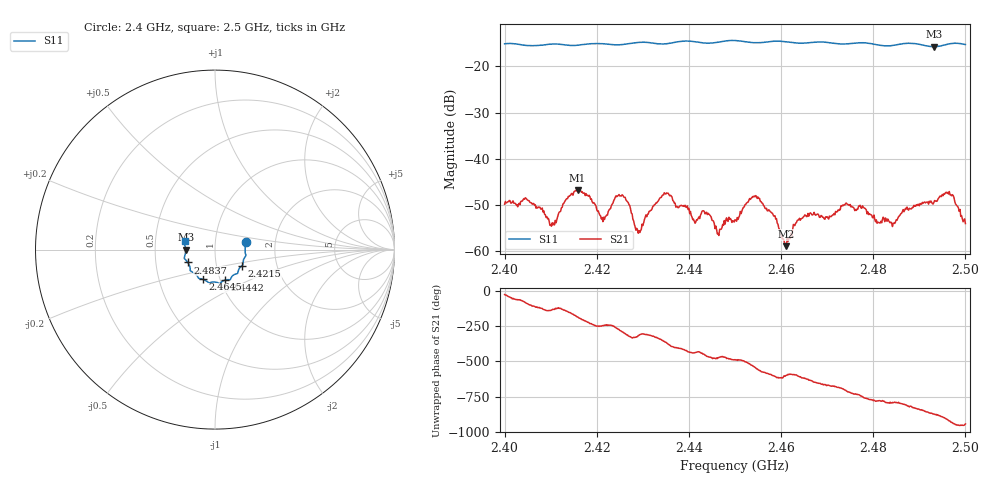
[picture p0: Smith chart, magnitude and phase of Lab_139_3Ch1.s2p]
# Hz S RI R 50
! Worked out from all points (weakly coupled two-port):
!   601 points, 2.4 GHz to 2.5 GHz, reference 50 ohm
!   highest |S21| = -46.84 dB at 2.4158 GHz (marker M1); lowest = -59.0 dB at 2.461 GHz (marker M2)
!   lowest |S11| = -15.7 dB at 2.4932 GHz (marker M3), VSWR 1.39, Z = 35.9 - j0.0512 ohm
!   |S11| at or under -10 dB: start of sweep to end of sweep
!   S12 and S22 are empty: the file has one direction only
!   S11 on the Smith chart (normalised r, x): 2.4 GHz: 1.41, +0.12; 2.4215 GHz: 1.33, -0.25; 2.4442 GHz: 1.05, -0.37; 2.4645 GHz: 0.83, -0.29; 2.4837 GHz: 0.73, -0.11; 2.5 GHz: 0.71, +0.07
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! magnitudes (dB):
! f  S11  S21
! 2.4 GHz  -15.1  -49.9
! 2.4048 GHz  -15.5  -48.8
! 2.4103 GHz  -15.1  -53.9
! 2.4158 GHz  -15.4  -46.8
! 2.4167 GHz  -15.3  -47.3
! 2.4215 GHz  -15.1  -52.7
! 2.4253 GHz  -15.3  -48.1
! 2.4292 GHz  -14.8  -55.6
! 2.4333 GHz  -15.1  -49.2
! 2.4442 GHz  -15.0  -51.9
! 2.4465 GHz  -14.7  -56.7
! 2.45 GHz  -14.4  -53.2
! 2.4547 GHz  -14.9  -48.2
! 2.461 GHz  -14.7  -59.0
! 2.4645 GHz  -15.0  -53.0
! 2.4667 GHz  -14.8  -52.2
! 2.4745 GHz  -15.1  -49.9
! 2.4833 GHz  -15.6  -53.4
! 2.4837 GHz  -15.5  -53.9
! 2.4932 GHz  -15.7  -49.4
! 2.497 GHz  -15.0  -48.1
! 2.5 GHz  -15.3  -54.1
